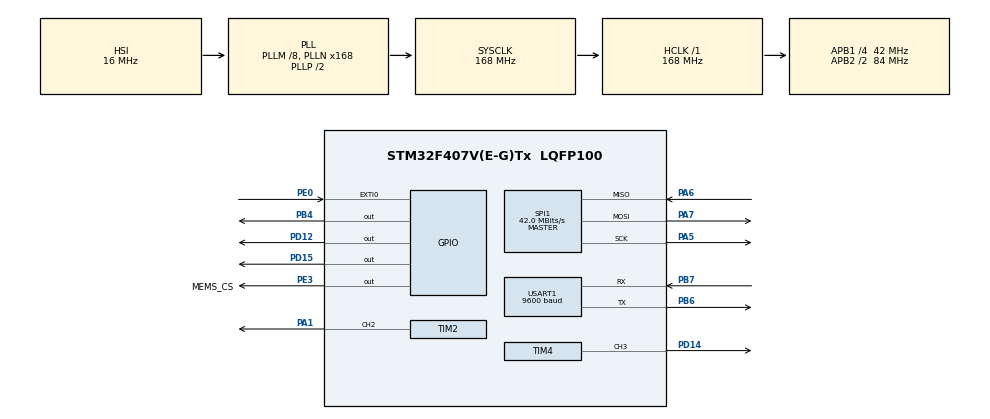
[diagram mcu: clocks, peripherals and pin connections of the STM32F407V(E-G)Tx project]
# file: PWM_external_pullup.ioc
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Mcu.Family=STM32F4
Mcu.Name=STM32F407V(E-G)Tx
Mcu.Package=LQFP100
NVIC.EXTI0_IRQn=true\:0\:0\:false\:false\:true\:true
NVIC.PriorityGroup=NVIC_PRIORITYGROUP_0
NVIC.TIM1_TRG_COM_TIM11_IRQn=true\:0\:0\:false\:false\:true\:true
NVIC.USART1_IRQn=true\:0\:0\:false\:false\:true\:true
PA1.GPIO_ModeDefaultPP=GPIO_MODE_AF_OD
PA1.GPIO_PuPd=GPIO_NOPULL
PA1.Signal=S_TIM2_CH2
PA5.Mode=Full_Duplex_Master
PA5.Signal=SPI1_SCK
PA6.Mode=Full_Duplex_Master
PA6.Signal=SPI1_MISO
PA7.Mode=Full_Duplex_Master
PA7.Signal=SPI1_MOSI
PB4.Signal=GPIO_Output
PB6.Mode=Asynchronous
PB6.Signal=USART1_TX
PB7.Mode=Asynchronous
PB7.Signal=USART1_RX
PD12.Signal=GPIO_Output
PD14.GPIO_ModeDefaultPP=GPIO_MODE_AF_OD
PD14.GPIO_PuPd=GPIO_NOPULL
PD14.Signal=S_TIM4_CH3
PD15.Signal=GPIO_Output
PE0.Signal=GPXTI0
PE3.GPIO_Label=MEMS_CS
PE3.Signal=GPIO_Output
ProjectManager.HeapSize=0x200
ProjectManager.StackSize=0x400
ProjectManager.TargetToolchain=MDK-ARM V5
RCC.48MHZClocksFreq_Value=48000000
RCC.AHBFreq_Value=168000000
RCC.APB1CLKDivider=RCC_HCLK_DIV4
RCC.APB1Freq_Value=42000000
RCC.APB1TimFreq_Value=84000000
RCC.APB2CLKDivider=RCC_HCLK_DIV2
RCC.APB2Freq_Value=84000000
RCC.APB2TimFreq_Value=168000000
RCC.CortexFreq_Value=168000000
RCC.HCLKFreq_Value=168000000
RCC.HSE_VALUE=8000000
RCC.HSI_VALUE=16000000
RCC.LSE_VALUE=32768
RCC.PLLM=8
RCC.PLLN=168
RCC.PLLQ=7
RCC.SYSCLKFreq_VALUE=168000000
RCC.SYSCLKSource=RCC_SYSCLKSOURCE_PLLCLK
RCC.VCOOutputFreq_Value=336000000
SH.S_TIM2_CH2.0=TIM2_CH2,PWM Generation2 CH2
SH.S_TIM4_CH3.0=TIM4_CH3,PWM Generation3 CH3
SPI1.BaudRatePrescaler=SPI_BAUDRATEPRESCALER_2
SPI1.CalculateBaudRate=42.0 MBits/s
SPI1.Direction=SPI_DIRECTION_2LINES
SPI1.Mode=SPI_MODE_MASTER
SPI1.VirtualType=VM_MASTER
TIM11.Period=8399
TIM11.Prescaler=9999
TIM2.Channel-PWM\ Generation2\ CH2=TIM_CHANNEL_2
TIM2.Period=999
TIM2.Prescaler=1679
TIM4.Channel-PWM\ Generation3\ CH3=TIM_CHANNEL_3
TIM4.Period=9999
TIM4.Prescaler=167
USART1.BaudRate=9600
USART1.VirtualMode=VM_ASYNC
VP_TIM11_VS_ClockSourceINT.Mode=Enable_Timer
VP_TIM2_VS_ClockSourceINT.Mode=Internal
VP_TIM4_VS_ClockSourceINT.Mode=Internal
board=STM32F4DISCOVERY

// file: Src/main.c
/* USER CODE BEGIN Header */
/**
  ******************************************************************************
  * @file           : main.c
  * @brief          : Main program body
  ******************************************************************************
  ** This notice applies to any and all portions of this file
  * that are not between comment pairs USER CODE BEGIN and
  * USER CODE END. Other portions of this file, whether
  * inserted by the user or by software development tools
  * are owned by their respective copyright owners.
  *
  * COPYRIGHT(c) 2019 STMicroelectronics
  *
  * Redistribution and use in source and binary forms, with or without modification,
  * are permitted provided that the following conditions are met:
  *   1. Redistributions of source code must retain the above copyright notice,
  *      this list of conditions and the following disclaimer.
  *   2. Redistributions in binary form must reproduce the above copyright notice,
  *      this list of conditions and the following disclaimer in the documentation
  *      and/or other materials provided with the distribution.
  *   3. Neither the name of STMicroelectronics nor the names of its contributors
  *      may be used to endorse or promote products derived from this software
  *      without specific prior written permission.
  *
  * THIS SOFTWARE IS PROVIDED BY THE COPYRIGHT HOLDERS AND CONTRIBUTORS "AS IS"
  * AND ANY EXPRESS OR IMPLIED WARRANTIES, INCLUDING, BUT NOT LIMITED TO, THE
  * IMPLIED WARRANTIES OF MERCHANTABILITY AND FITNESS FOR A PARTICULAR PURPOSE ARE
  * DISCLAIMED. IN NO EVENT SHALL THE COPYRIGHT HOLDER OR CONTRIBUTORS BE LIABLE
  * FOR ANY DIRECT, INDIRECT, INCIDENTAL, SPECIAL, EXEMPLARY, OR CONSEQUENTIAL
  * DAMAGES (INCLUDING, BUT NOT LIMITED TO, PROCUREMENT OF SUBSTITUTE GOODS OR
  * SERVICES; LOSS OF USE, DATA, OR PROFITS; OR BUSINESS INTERRUPTION) HOWEVER
  * CAUSED AND ON ANY THEORY OF LIABILITY, WHETHER IN CONTRACT, STRICT LIABILITY,
  * OR TORT (INCLUDING NEGLIGENCE OR OTHERWISE) ARISING IN ANY WAY OUT OF THE USE
  * OF THIS SOFTWARE, EVEN IF ADVISED OF THE POSSIBILITY OF SUCH DAMAGE.
  *
  ******************************************************************************
  */
/* USER CODE END Header */

#include "main.h"

/* USER CODE BEGIN Includes */
#include "stdlib.h"
#include <math.h>
/* USER CODE END Includes */

SPI_HandleTypeDef hspi1;

TIM_HandleTypeDef htim2;
TIM_HandleTypeDef htim4;
TIM_HandleTypeDef htim11;

UART_HandleTypeDef huart1;

/* USER CODE BEGIN PV */
//static uint16_t cnt = 0; // Licznik wyslanych wiadomosci
//uint8_t  RX_data[50]; // Tablica do odbioru danych
//uint8_t  TX_data[4]; // Tablica do wysylania danych
//uint16_t TX_size = 0; // Rozmiar wysylanej wiadomosci
//uint8_t  FLAG_UART_RECIVED=0;
uint8_t received_data1;
uint8_t received_data[4];

/* USER CODE END PV */

void SystemClock_Config(void);
static void MX_GPIO_Init(void);
static void MX_TIM4_Init(void);
static void MX_USART1_UART_Init(void);
static void MX_TIM11_Init(void);
static void MX_TIM2_Init(void);
static void MX_SPI1_Init(void);
/* USER CODE BEGIN PFP */

//PRZERWANIE - odbiór danych z uarta (wiele znaków, sterowanie predkoscia i kierunkiem)
void HAL_UART_RxCpltCallback(UART_HandleTypeDef *huart) {
	uint8_t send_data[50];
	uint16_t size = 0;

	uint8_t servo = received_data[0]; // S - bez blokady, T - z blokada
	uint8_t direction = received_data[1]; //Left, Right, albo Forward, Reverse
	int speed = atoi(&received_data[2]);// + atoi(&received_data[3]); //  0-99% ???

	//TIM4->CCR3 = 74; 		// Servo bez blokady: 40-0.8ms, 50-1.0ms, 80-1.6ms, 100-2.0ms, 110-2.2ms  74- STOP
	//TIM2->CCR2 = 56; // Servo z blokada: 20-0.4ms, 130-2.6ms  32- lewe skrajne, 56-srodek, 80-prawe skrajne

	if(servo == 'S' || servo == 's') { //jezeli chcemy sterowac predkoscia [S]peed
		if( direction == 'F' || direction == 'f'){    //jazda do przodu [F]orward
			TIM4->CCR3 = (int)(740 - (340 * speed/100)); //zadajemy predkosc proporcjonalna do zadanej wahadla bez blokady
			size = sprintf(send_data, "Wlazl w ifa z 'xD', a wartosc CCR3 to '%d'.\n\r", TIM4->CCR3);
		}
		else if(direction == 'R' || direction == 'r') {      //jazda do tylu [R]everse
			TIM4->CCR3 = (int)(740 + (340 * speed/100)); //zadajemy predkosc proporcjonalna do zadanej wahadla bez blokady
			size = sprintf(send_data, "Wlazl w ifa z 'SR', a wartosc speed to '%d'\n\r", TIM4->CCR3);
		}
		else{		// znaki inne niz przewidziane
			size = sprintf(send_data, "Odebrana wiadomosc zawiera nieznane znaki!\n\r");
		}
	}
	else if(servo == 'T' || servo == 't'){        // jezeli chcemy skrecac [T]urn
		if(direction == 'R' || direction == 'r'){   // skrecamy w prawo [R]ight
			TIM2->CCR2 = (int)(56 - (30 * speed/100));
			size = sprintf(send_data, "Wlazl w ifa z 'TR', a wartosc CCR2 to '%d'\n\r", TIM2->CCR2);
		}
		else if(direction == 'L' || direction == 'l') {    //skrecamy w lewo [L]eft
			TIM2->CCR2 = (int)(56 + (30 * speed/100));
			size = sprintf(send_data, "Wlazl w ifa z 'TL', a wartosc CCR2 to '%d'.\n\r", TIM2->CCR2);
		}
		else{   // znaki inne niz przewidziane
			size = sprintf(send_data, "Odebrana wiadomosc zawiera nieznane znaki!\n\r");
		}
	}
	else {  // znaki inne niz przewidziane
		size = sprintf(send_data, "Odebrana wiadomosc zawiera nieznane znaki!\n\r");
	}

	//size = sprintf(send_data, "Odebrana wiadomosc: '%s'\n\r", received_data);
	//wyslanie przygotowanej wiadomosci
	HAL_UART_Transmit_IT(&huart1, send_data, size);
  //Ponowne wlaczenie nasluchiwania
  HAL_UART_Receive_IT(&huart1, received_data, 4);
   //Dioda informujaca o tym ze UART odebral dane
	HAL_GPIO_TogglePin(GPIOD, GPIO_PIN_15);
}

//PRZERWANIE - odbiór danych z uarta (jeden znak ON/OFF)
//void HAL_UART_RxCpltCallback(UART_HandleTypeDef *huart) {
//
//	uint8_t send_data[50];
//  uint16_t size = 0;
//
//	switch(atoi(&received_data1)) {
//
//		case 0: // Jezeli odebrany zostanie znak 0
//		size = sprintf(send_data, "STOP\n\r");
//		HAL_GPIO_WritePin(GPIOD, GPIO_PIN_15, GPIO_PIN_SET);
//		TIM4->CCR3 = 74;
//		break;
//
//	  case 1: // Jezeli odebrany zostanie znak 1
//	  size = sprintf(send_data, "START\n\r");
//	  HAL_GPIO_WritePin(GPIOD, GPIO_PIN_15, GPIO_PIN_RESET);
//		TIM4->CCR3 = 80;
//
//	  break;
//
//	  default: // Jezeli odebrano nieobslugiwany znak
//	  size = sprintf(send_data, "Odebrano nieznany znak:%c\n\r", received_data1);
//	  break;
//	}
//
//
//	//size = sprintf(send_data, "Do rejestru CCR3 TIM4 wpisano:%s\n\r", received_data);//received_data
//
//	//wyslanie przygotowanej wiadomosci
//	 HAL_UART_Transmit_IT(&huart1, send_data, size);
//   //Ponowne wlaczenie nasluchiwania
//   HAL_UART_Receive_IT(&huart1, &received_data1, 1);
//   //Dioda informujaca o tym ze UART odebral dane
//	HAL_GPIO_TogglePin(GPIOD, GPIO_PIN_15);
//}

//funkcja wysylajaca dane do komputera z czestotliwoscia 1Hz (przerwanie od timera)
//void HAL_TIM_PeriodElapsedCallback(TIM_HandleTypeDef *htim) {
//
// static uint16_t cnt = 0; // Licznik wyslanych wiadomosci
// uint8_t data[50];// Tablica przechowujaca wysylana wiadomosc.
// uint16_t size = 0; // Rozmiar wysylanej wiadomosci ++cnt; // Zwiekszenie licznika wyslanych wiadomosci.
//
// ++cnt; // Zwiekszenie licznika wyslanych wiadomosci.
// size = sprintf(data, "Liczba wyslanych wiadomosci: %d.\n\r", cnt); // Stworzenie wiadomosci do wyslania oraz przypisanie ilosci wysylanych znakow do zmiennej size.
// HAL_UART_Transmit_IT(&huart1, data, size); // Rozpoczecie nadawania danych z wykorzystaniem przerwan
// //HAL_GPIO_TogglePin(GPIOD, GPIO_PIN_15); // Zmiana stanu pinu na diodzie LED
//}

/* USER CODE END PFP */

int main(void)
{

  /* MCU Configuration--------------------------------------------------------*/

  /* Reset of all peripherals, Initializes the Flash interface and the Systick. */
  HAL_Init();

  /* Configure the system clock */
  SystemClock_Config();

  /* Initialize all configured peripherals */
  MX_GPIO_Init();
  MX_TIM4_Init();
  MX_USART1_UART_Init();
  MX_TIM11_Init();
  MX_TIM2_Init();
  MX_SPI1_Init();
  /* USER CODE BEGIN 2 */
	HAL_TIM_PWM_Start(&htim4, TIM_CHANNEL_3);
	HAL_TIM_PWM_Start(&htim2, TIM_CHANNEL_2);
	HAL_TIM_Base_Start_IT(&htim11);
	HAL_UART_Receive_IT(&huart1, received_data, 4); //odbieramy 4 znaki z uart1 i zapisujemy do received_data
	TIM4->CCR3 = 740; 		// Servo bez blokady: 40-0.8ms, 50-1.0ms, 80-1.6ms, 100-2.0ms, 110-2.2ms  74- STOP
	TIM2->CCR2 = 56; // Servo z blokada: 20-0.4ms, 130-2.6ms  32- lewe skrajne, 56-srodek, 80-prawe skrajne
	HAL_GPIO_WritePin(GPIOB, GPIO_PIN_4, GPIO_PIN_SET);

  /* USER CODE END 2 */

  /* Infinite loop */
  /* USER CODE BEGIN WHILE */
  while (1){
  /*
		HAL_Delay(1000);
		TIM2->CCR2 = 32;
		HAL_Delay(1000);
		TIM2->CCR2 = 56;
		HAL_Delay(1000);
		TIM2->CCR2 = 80;
		HAL_Delay(1000);
		TIM2->CCR2 = 80;
		HAL_Delay(1000);
		TIM2->CCR2 = 100;
		HAL_Delay(1000);
		TIM2->CCR2 = 110;
		HAL_Delay(1000);
		TIM2->CCR2 = 130;*/

    /* USER CODE END WHILE */

  }
}

void SystemClock_Config(void)
{
  RCC_OscInitTypeDef RCC_OscInitStruct = {0};
  RCC_ClkInitTypeDef RCC_ClkInitStruct = {0};

  /**Configure the main internal regulator output voltage
  */
  __HAL_RCC_PWR_CLK_ENABLE();
  __HAL_PWR_VOLTAGESCALING_CONFIG(PWR_REGULATOR_VOLTAGE_SCALE1);
  /**Initializes the CPU, AHB and APB busses clocks
  */
  RCC_OscInitStruct.OscillatorType = RCC_OSCILLATORTYPE_HSI;
  RCC_OscInitStruct.HSIState = RCC_HSI_ON;
  RCC_OscInitStruct.HSICalibrationValue = RCC_HSICALIBRATION_DEFAULT;
  RCC_OscInitStruct.PLL.PLLState = RCC_PLL_ON;
  RCC_OscInitStruct.PLL.PLLSource = RCC_PLLSOURCE_HSI;
  RCC_OscInitStruct.PLL.PLLM = 8;
  RCC_OscInitStruct.PLL.PLLN = 168;
  RCC_OscInitStruct.PLL.PLLP = RCC_PLLP_DIV2;
  RCC_OscInitStruct.PLL.PLLQ = 7;
  if (HAL_RCC_OscConfig(&RCC_OscInitStruct) != HAL_OK)
  {
    Error_Handler();
  }
  /**Initializes the CPU, AHB and APB busses clocks
  */
  RCC_ClkInitStruct.ClockType = RCC_CLOCKTYPE_HCLK|RCC_CLOCKTYPE_SYSCLK
                              |RCC_CLOCKTYPE_PCLK1|RCC_CLOCKTYPE_PCLK2;
  RCC_ClkInitStruct.SYSCLKSource = RCC_SYSCLKSOURCE_PLLCLK;
  RCC_ClkInitStruct.AHBCLKDivider = RCC_SYSCLK_DIV1;
  RCC_ClkInitStruct.APB1CLKDivider = RCC_HCLK_DIV4;
  RCC_ClkInitStruct.APB2CLKDivider = RCC_HCLK_DIV2;

  if (HAL_RCC_ClockConfig(&RCC_ClkInitStruct, FLASH_LATENCY_5) != HAL_OK)
  {
    Error_Handler();
  }
}

static void MX_SPI1_Init(void)
{

  /* SPI1 parameter configuration*/
  hspi1.Instance = SPI1;
  hspi1.Init.Mode = SPI_MODE_MASTER;
  hspi1.Init.Direction = SPI_DIRECTION_2LINES;
  hspi1.Init.DataSize = SPI_DATASIZE_8BIT;
  hspi1.Init.CLKPolarity = SPI_POLARITY_LOW;
  hspi1.Init.CLKPhase = SPI_PHASE_1EDGE;
  hspi1.Init.NSS = SPI_NSS_SOFT;
  hspi1.Init.BaudRatePrescaler = SPI_BAUDRATEPRESCALER_2;
  hspi1.Init.FirstBit = SPI_FIRSTBIT_MSB;
  hspi1.Init.TIMode = SPI_TIMODE_DISABLE;
  hspi1.Init.CRCCalculation = SPI_CRCCALCULATION_DISABLE;
  hspi1.Init.CRCPolynomial = 10;
  if (HAL_SPI_Init(&hspi1) != HAL_OK)
  {
    Error_Handler();
  }

}

static void MX_TIM2_Init(void)
{

  TIM_ClockConfigTypeDef sClockSourceConfig = {0};
  TIM_MasterConfigTypeDef sMasterConfig = {0};
  TIM_OC_InitTypeDef sConfigOC = {0};

  htim2.Instance = TIM2;
  htim2.Init.Prescaler = 1679;
  htim2.Init.CounterMode = TIM_COUNTERMODE_UP;
  htim2.Init.Period = 999;
  htim2.Init.ClockDivision = TIM_CLOCKDIVISION_DIV1;
  if (HAL_TIM_Base_Init(&htim2) != HAL_OK)
  {
    Error_Handler();
  }
  sClockSourceConfig.ClockSource = TIM_CLOCKSOURCE_INTERNAL;
  if (HAL_TIM_ConfigClockSource(&htim2, &sClockSourceConfig) != HAL_OK)
  {
    Error_Handler();
  }
  if (HAL_TIM_PWM_Init(&htim2) != HAL_OK)
  {
    Error_Handler();
  }
  sMasterConfig.MasterOutputTrigger = TIM_TRGO_RESET;
  sMasterConfig.MasterSlaveMode = TIM_MASTERSLAVEMODE_DISABLE;
  if (HAL_TIMEx_MasterConfigSynchronization(&htim2, &sMasterConfig) != HAL_OK)
  {
    Error_Handler();
  }
  sConfigOC.OCMode = TIM_OCMODE_PWM1;
  sConfigOC.Pulse = 0;
  sConfigOC.OCPolarity = TIM_OCPOLARITY_HIGH;
  sConfigOC.OCFastMode = TIM_OCFAST_DISABLE;
  if (HAL_TIM_PWM_ConfigChannel(&htim2, &sConfigOC, TIM_CHANNEL_2) != HAL_OK)
  {
    Error_Handler();
  }
  HAL_TIM_MspPostInit(&htim2);

}

static void MX_TIM4_Init(void)
{

  TIM_ClockConfigTypeDef sClockSourceConfig = {0};
  TIM_MasterConfigTypeDef sMasterConfig = {0};
  TIM_OC_InitTypeDef sConfigOC = {0};

  htim4.Instance = TIM4;
  htim4.Init.Prescaler = 167;
  htim4.Init.CounterMode = TIM_COUNTERMODE_UP;
  htim4.Init.Period = 9999;
  htim4.Init.ClockDivision = TIM_CLOCKDIVISION_DIV1;
  if (HAL_TIM_Base_Init(&htim4) != HAL_OK)
  {
    Error_Handler();
  }
  sClockSourceConfig.ClockSource = TIM_CLOCKSOURCE_INTERNAL;
  if (HAL_TIM_ConfigClockSource(&htim4, &sClockSourceConfig) != HAL_OK)
  {
    Error_Handler();
  }
  if (HAL_TIM_PWM_Init(&htim4) != HAL_OK)
  {
    Error_Handler();
  }
  sMasterConfig.MasterOutputTrigger = TIM_TRGO_RESET;
  sMasterConfig.MasterSlaveMode = TIM_MASTERSLAVEMODE_DISABLE;
  if (HAL_TIMEx_MasterConfigSynchronization(&htim4, &sMasterConfig) != HAL_OK)
  {
    Error_Handler();
  }
  sConfigOC.OCMode = TIM_OCMODE_PWM1;
  sConfigOC.Pulse = 0;
  sConfigOC.OCPolarity = TIM_OCPOLARITY_HIGH;
  sConfigOC.OCFastMode = TIM_OCFAST_DISABLE;
  if (HAL_TIM_PWM_ConfigChannel(&htim4, &sConfigOC, TIM_CHANNEL_3) != HAL_OK)
  {
    Error_Handler();
  }
  HAL_TIM_MspPostInit(&htim4);

}

static void MX_TIM11_Init(void)
{

  htim11.Instance = TIM11;
  htim11.Init.Prescaler = 9999;
  htim11.Init.CounterMode = TIM_COUNTERMODE_UP;
  htim11.Init.Period = 8399;
  htim11.Init.ClockDivision = TIM_CLOCKDIVISION_DIV1;
  if (HAL_TIM_Base_Init(&htim11) != HAL_OK)
  {
    Error_Handler();
  }

}

static void MX_USART1_UART_Init(void)
{

  huart1.Instance = USART1;
  huart1.Init.BaudRate = 9600;
  huart1.Init.WordLength = UART_WORDLENGTH_8B;
  huart1.Init.StopBits = UART_STOPBITS_1;
  huart1.Init.Parity = UART_PARITY_NONE;
  huart1.Init.Mode = UART_MODE_TX_RX;
  huart1.Init.HwFlowCtl = UART_HWCONTROL_NONE;
  huart1.Init.OverSampling = UART_OVERSAMPLING_16;
  if (HAL_UART_Init(&huart1) != HAL_OK)
  {
    Error_Handler();
  }

}

static void MX_GPIO_Init(void)
{
  GPIO_InitTypeDef GPIO_InitStruct = {0};

  /* GPIO Ports Clock Enable */
  __HAL_RCC_GPIOE_CLK_ENABLE();
  __HAL_RCC_GPIOA_CLK_ENABLE();
  __HAL_RCC_GPIOD_CLK_ENABLE();
  __HAL_RCC_GPIOB_CLK_ENABLE();

  /*Configure GPIO pin Output Level */
  HAL_GPIO_WritePin(MEMS_CS_GPIO_Port, MEMS_CS_Pin, GPIO_PIN_RESET);

  /*Configure GPIO pin Output Level */
  HAL_GPIO_WritePin(GPIOD, GPIO_PIN_12|GPIO_PIN_15, GPIO_PIN_RESET);

  /*Configure GPIO pin Output Level */
  HAL_GPIO_WritePin(GPIOB, GPIO_PIN_4, GPIO_PIN_RESET);

  /*Configure GPIO pin : MEMS_CS_Pin */
  GPIO_InitStruct.Pin = MEMS_CS_Pin;
  GPIO_InitStruct.Mode = GPIO_MODE_OUTPUT_PP;
  GPIO_InitStruct.Pull = GPIO_NOPULL;
  GPIO_InitStruct.Speed = GPIO_SPEED_FREQ_LOW;
  HAL_GPIO_Init(MEMS_CS_GPIO_Port, &GPIO_InitStruct);

  /*Configure GPIO pins : PD12 PD15 */
  GPIO_InitStruct.Pin = GPIO_PIN_12|GPIO_PIN_15;
  GPIO_InitStruct.Mode = GPIO_MODE_OUTPUT_PP;
  GPIO_InitStruct.Pull = GPIO_NOPULL;
  GPIO_InitStruct.Speed = GPIO_SPEED_FREQ_LOW;
  HAL_GPIO_Init(GPIOD, &GPIO_InitStruct);

  /*Configure GPIO pin : PB4 */
  GPIO_InitStruct.Pin = GPIO_PIN_4;
  GPIO_InitStruct.Mode = GPIO_MODE_OUTPUT_PP;
  GPIO_InitStruct.Pull = GPIO_NOPULL;
  GPIO_InitStruct.Speed = GPIO_SPEED_FREQ_LOW;
  HAL_GPIO_Init(GPIOB, &GPIO_InitStruct);

  /*Configure GPIO pin : PE0 */
  GPIO_InitStruct.Pin = GPIO_PIN_0;
  GPIO_InitStruct.Mode = GPIO_MODE_IT_RISING;
  GPIO_InitStruct.Pull = GPIO_NOPULL;
  HAL_GPIO_Init(GPIOE, &GPIO_InitStruct);

  /* EXTI interrupt init*/
  HAL_NVIC_SetPriority(EXTI0_IRQn, 0, 0);
  HAL_NVIC_EnableIRQ(EXTI0_IRQn);

}

void Error_Handler(void)
{
}

/************************ (C) COPYRIGHT STMicroelectronics *****END OF FILE****/
